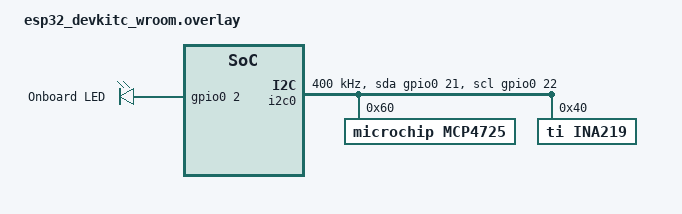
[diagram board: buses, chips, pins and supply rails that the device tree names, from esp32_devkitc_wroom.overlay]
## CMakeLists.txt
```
# SPDX-License-Identifier: Apache-2.0

cmake_minimum_required(VERSION 3.20.0)
find_package(Zephyr REQUIRED HINTS $ENV{ZEPHYR_BASE})
project(CurveTracer)

FILE(GLOB app_sources src/*.c)
target_sources(app PRIVATE ${app_sources})
```

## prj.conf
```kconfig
CONFIG_STDOUT_CONSOLE=y
CONFIG_CBPRINTF_FP_SUPPORT=y
CONFIG_I2C=y
CONFIG_SENSOR=y
CONFIG_DAC=y


CONFIG_GPIO=y
CONFIG_CONSOLE=y
CONFIG_UART_CONSOLE=y
CONFIG_PRINTK=y
```

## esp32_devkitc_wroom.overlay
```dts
/ {
    aliases {
        led0 = &led0;
    };
    leds {
        compatible = "gpio-leds";
        led0: led_0 {
            gpios = <&gpio0 2 GPIO_ACTIVE_HIGH>;
            label = "Onboard LED";
        };
    };
};

&i2c0 {
    status = "okay";
    clock-frequency = <I2C_BITRATE_FAST>;
    sda-gpios = <&gpio0 21 GPIO_ACTIVE_HIGH>;
    scl-gpios = <&gpio0 22 GPIO_ACTIVE_HIGH>;

    mcp4725: mcp4725@60 {
        compatible = "microchip,mcp4725";
        reg = <0x60>;
        status = "okay";
        #io-channel-cells = <1>;
    };
    ina219: ina219@40 {
        compatible = "ti,ina219";
        reg = <0x40>;
        shunt-milliohm = <100>;
        lsb-microamp = <10>;
        status = "okay";
    };
};
```

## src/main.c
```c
/*
 * DAC Voltage Sweep with INA219 Current/Voltage Monitoring
 * Commands: "start" - begin voltage sweep from 3.3V to 0V
 * Simplified UART reception using polling
 */

#include <zephyr/kernel.h>
#include <zephyr/device.h>
#include <zephyr/drivers/dac.h>
#include <zephyr/drivers/i2c.h>
#include <zephyr/drivers/uart.h>
#include <zephyr/sys/printk.h>
#include <zephyr/logging/log.h>
#include <string.h>
#include <stdio.h>

LOG_MODULE_REGISTER(dac_sweep, LOG_LEVEL_INF);

/* DAC Configuration */
#define DAC_RESOLUTION_BITS 12
#define DAC_MAX_VALUE ((1 << DAC_RESOLUTION_BITS) - 1)  /* 4095 */
#define DAC_STEP_SIZE 2                                /* DAC steps per decrement */
#define STEP_DELAY_MS 1                                 /* 1ms delay between steps for max speed */

/* INA219 I2C Configuration */
#define INA219_I2C_ADDR 0x40        /* Default INA219 address */
#define INA219_REG_CONFIG 0x00
#define INA219_REG_SHUNT_VOLTAGE 0x01
#define INA219_REG_BUS_VOLTAGE 0x02
#define INA219_REG_POWER 0x03
#define INA219_REG_CURRENT 0x04
#define INA219_REG_CALIBRATION 0x05

/* UART Buffer - Simplified */
#define UART_BUF_SIZE 16
static char uart_rx_buf[UART_BUF_SIZE];
static int uart_rx_pos = 0;

/* Device handles */
static const struct device *dac_dev;
static const struct device *i2c_dev;
static const struct device *uart_dev;

/* INA219 Functions */
static int ina219_write_reg(uint8_t reg, uint16_t value)
{
    uint8_t data[3] = {reg, (value >> 8) & 0xFF, value & 0xFF};
    return i2c_write(i2c_dev, data, 3, INA219_I2C_ADDR);
}

static int ina219_read_reg(uint8_t reg, uint16_t *value)
{
    uint8_t data[2];
    int ret;
    
    ret = i2c_write_read(i2c_dev, INA219_I2C_ADDR, &reg, 1, data, 2);
    if (ret == 0) {
        *value = (data[0] << 8) | data[1];
    }
    return ret;
}

static int ina219_init(void)
{
    uint16_t config;
    int ret;
    
    /* Configure INA219 for maximum speed */
    /* BRNG=1 (32V), PG=3 (320mV), BADC=0 (9-bit), SADC=0 (9-bit), MODE=7 (continuous) */
    config = 0x3807;  /* 32V range, ±320mV shunt, 9-bit (fast), continuous */
    ret = ina219_write_reg(INA219_REG_CONFIG, config);
    if (ret != 0) {
        LOG_ERR("Failed to configure INA219");
        return ret;
    }
    
    /* Set calibration for 0.1 ohm shunt resistor */
    /* Calibration = 0.04096 / (Current_LSB * R_shunt) */
    /* Assuming 0.1 ohm shunt, max 3.2A, Current_LSB = 0.1mA */
    uint16_t cal_value = 4096;  /* Adjust based on your shunt resistor */
    ret = ina219_write_reg(INA219_REG_CALIBRATION, cal_value);
    if (ret != 0) {
        LOG_ERR("Failed to set INA219 calibration");
        return ret;
    }
    
    LOG_INF("INA219 initialized successfully");
    return 0;
}

static int ina219_read_measurements(float *bus_voltage, float *current)
{
    uint16_t bus_raw, current_raw;
    int ret;
    
    /* Read bus voltage register */
    ret = ina219_read_reg(INA219_REG_BUS_VOLTAGE, &bus_raw);
    if (ret != 0) {
        return ret;
    }
    
    /* Read current register */
    ret = ina219_read_reg(INA219_REG_CURRENT, &current_raw);
    if (ret != 0) {
        return ret;
    }
    
    /* Convert to actual values */
    /* Bus voltage: LSB = 4mV, shift right 3 bits */
    *bus_voltage = ((bus_raw >> 3) * 4) / 1000.0f;  /* Convert mV to V */
    
    /* Current: LSB = 0.1mA (depends on calibration) */
    *current = (int16_t)current_raw * 0.1f;  /* Convert to mA, handle signed */
    
    return 0;
}

/* Simplified UART input check using polling */
static bool check_start_command(void)
{
    uint8_t c;
    
    /* Poll for incoming character */
    if (uart_poll_in(uart_dev, &c) == 0) {
        /* Character received */
        if (c == '\r' || c == '\n') {
            /* End of command */
            uart_rx_buf[uart_rx_pos] = '\0';
            
            /* Check for "start" command */
            if (strncmp(uart_rx_buf, "start", 5) == 0) {
                uart_rx_pos = 0;  /* Reset buffer */
                return true;
            }
            
            uart_rx_pos = 0;  /* Reset buffer for next command */
        } else if (uart_rx_pos < UART_BUF_SIZE - 1) {
            /* Add character to buffer */
            uart_rx_buf[uart_rx_pos++] = c;
        } else {
            /* Buffer full, reset */
            uart_rx_pos = 0;
        }
    }
    
    return false;
}

/* DAC and measurement sweep function */
static void voltage_sweep(void)
{
    struct dac_channel_cfg dac_cfg;
    int16_t dac_value = DAC_MAX_VALUE;  /* Start at maximum (3.3V) */
    float bus_voltage, current;
    int ret;
    
    /* Configure DAC */
    dac_cfg.channel_id = 0;
    dac_cfg.resolution = DAC_RESOLUTION_BITS;
    dac_cfg.buffered = false;
    dac_cfg.internal = false;
    
    ret = dac_channel_setup(dac_dev, &dac_cfg);
    if (ret != 0) {
        LOG_ERR("Failed to setup DAC channel: %d", ret);
        return;
    }
    
    printf("=== Voltage Sweep Started ===\n");
    printf("DAC_Value, DAC_Voltage(V), Bus_Voltage(V), Current(mA)\n");
    
    while (dac_value > 0) {
        /* Set DAC output */
        ret = dac_write_value(dac_dev, 0, dac_value);
        if (ret != 0) {
            LOG_ERR("Failed to write DAC value: %d", ret);
            break;
        }
        
        /* Small delay for DAC to settle */
        k_sleep(K_MSEC(10));
        
        /* Read INA219 measurements */
        ret = ina219_read_measurements(&bus_voltage, &current);
        if (ret == 0) {
            /* Calculate expected DAC voltage */
            float dac_voltage = (dac_value * 3.3f) / DAC_MAX_VALUE;
            
            /* Print measurements */
            printf("%d, %.3f, %.3f, %.1f\n", 
                   dac_value, dac_voltage, bus_voltage, current);
        } else {
            LOG_ERR("Failed to read INA219: %d", ret);
        }
        
        /* Decrement DAC value */
        dac_value -= DAC_STEP_SIZE;
        if (dac_value < 0) dac_value = 0;  /* Ensure we hit exactly 0 */
        
        /* Wait for next step */
        k_sleep(K_MSEC(STEP_DELAY_MS));
    }
    
    printf("=== Voltage Sweep Completed ===\n");
}

int main(void)
{
    int ret;
    
    /* Initialize devices */
    dac_dev = DEVICE_DT_GET(DT_NODELABEL(mcp4725));
    i2c_dev = DEVICE_DT_GET(DT_NODELABEL(i2c0));  /* Adjust for your I2C bus */
    uart_dev = DEVICE_DT_GET(DT_CHOSEN(zephyr_console));
    
    /* Check device readiness */
    if (!device_is_ready(dac_dev)) {
        LOG_ERR("DAC device not ready");
        return -1;
    }
    
    if (!device_is_ready(i2c_dev)) {
        LOG_ERR("I2C device not ready");
        return -1;
    }
    
    if (!device_is_ready(uart_dev)) {
        LOG_ERR("UART device not ready");
        return -1;
    }
    
    LOG_INF("All devices ready");
    
    /* Initialize INA219 */
    ret = ina219_init();
    if (ret != 0) {
        LOG_ERR("INA219 initialization failed");
        return -1;
    }
    
    printf("\n=== DAC Voltage Sweep with INA219 Monitor ===\n");
    printf("Type 'start' and press Enter to begin voltage sweep\n");
    printf("Sweep: 3.3V -> 0V, Step delay: %dms\n", STEP_DELAY_MS);
    printf("Ready for commands...\n");
    
    while (1) {
        /* Check for start command using simple polling */
        if (check_start_command()) {
            printf("Starting voltage sweep...\n");
            voltage_sweep();
            printf("Ready for next command...\n");
        }
        
        k_sleep(K_MSEC(10));  /* Small delay to prevent busy waiting */
    }
    
    return 0;
}
```
